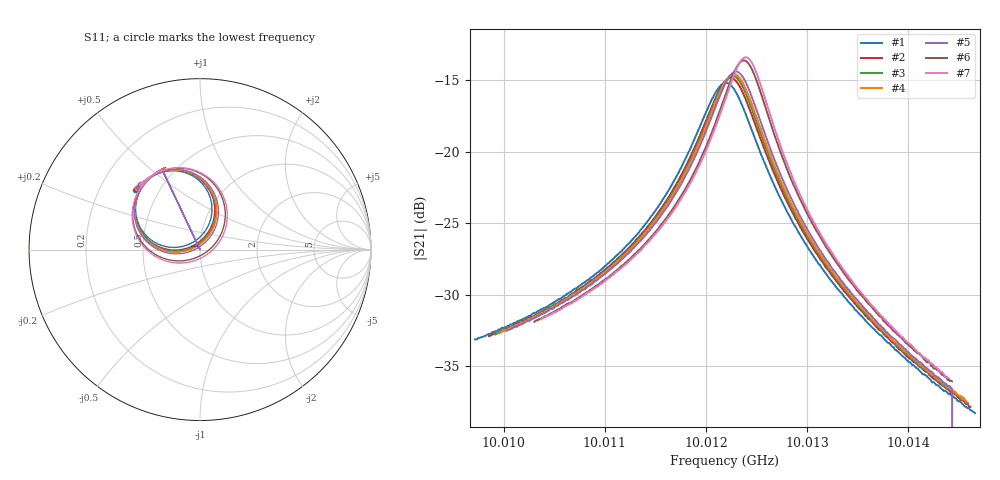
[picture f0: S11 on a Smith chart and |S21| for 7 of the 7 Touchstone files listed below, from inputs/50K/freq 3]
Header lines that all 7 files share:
#  HZ  S  RI  R  50.00
! Rohde & Schwarz Vector Network Analyzer
! Rohde-Schwarz,ZNB20-2Port,1311601062101988,3.16
! freq[Hz]  re:S11  im:S11  re:S21  im:S21  re:S12  im:S12  re:S22  im:S22
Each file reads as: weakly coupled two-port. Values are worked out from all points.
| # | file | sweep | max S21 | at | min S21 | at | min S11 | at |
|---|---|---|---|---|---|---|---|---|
| 1 | 199_3_48.0988_50.0673943_61800.941_.s2p | 10.00972 GHz to 10.01466 GHz | -15.21 dB | 10.0122 GHz | -38.3 dB | 10.01466 GHz | -24.7 dB | 10.01221 GHz |
| 2 | 213_3_48.101_50.086483_53261.797_.s2p | 10.00985 GHz to 10.01461 GHz | -14.86 dB | 10.01225 GHz | -37.8 dB | 10.01461 GHz | -27.9 dB | 10.01226 GHz |
| 3 | 219_3_48.0986_50.0942268_49806.531_.s2p | 10.00992 GHz to 10.01459 GHz | -14.72 dB | 10.01227 GHz | -37.6 dB | 10.01458 GHz | -30.0 dB | 10.01228 GHz |
| 4 | 223_3_48.1015_50.0993462_47270.168_.s2p | 10.00996 GHz to 10.01457 GHz | -14.61 dB | 10.01228 GHz | -37.4 dB | 10.01457 GHz | -31.8 dB | 10.01229 GHz |
| 5 | 230_3_48.1049_50.1075478_43245.055_.s2p | 10.01003 GHz to 10.01455 GHz | -14.42 dB | 10.0123 GHz | -36.6 dB | 10.01443 GHz | -36.6 dB | 10.01231 GHz |
| 6 | 254_3_48.0991_50.1354599_28704.6_.s2p | 10.0103 GHz to 10.01443 GHz | -13.64 dB | 10.01238 GHz | -36.0 dB | 10.01443 GHz | -29.8 dB | 10.01239 GHz |
| 7 | 260_3_48.1002_50.1446304_25218.838_.s2p | 10.01037 GHz to 10.0144 GHz | -13.42 dB | 10.0124 GHz | -35.8 dB | 10.0144 GHz | -26.7 dB | 10.01241 GHz |
